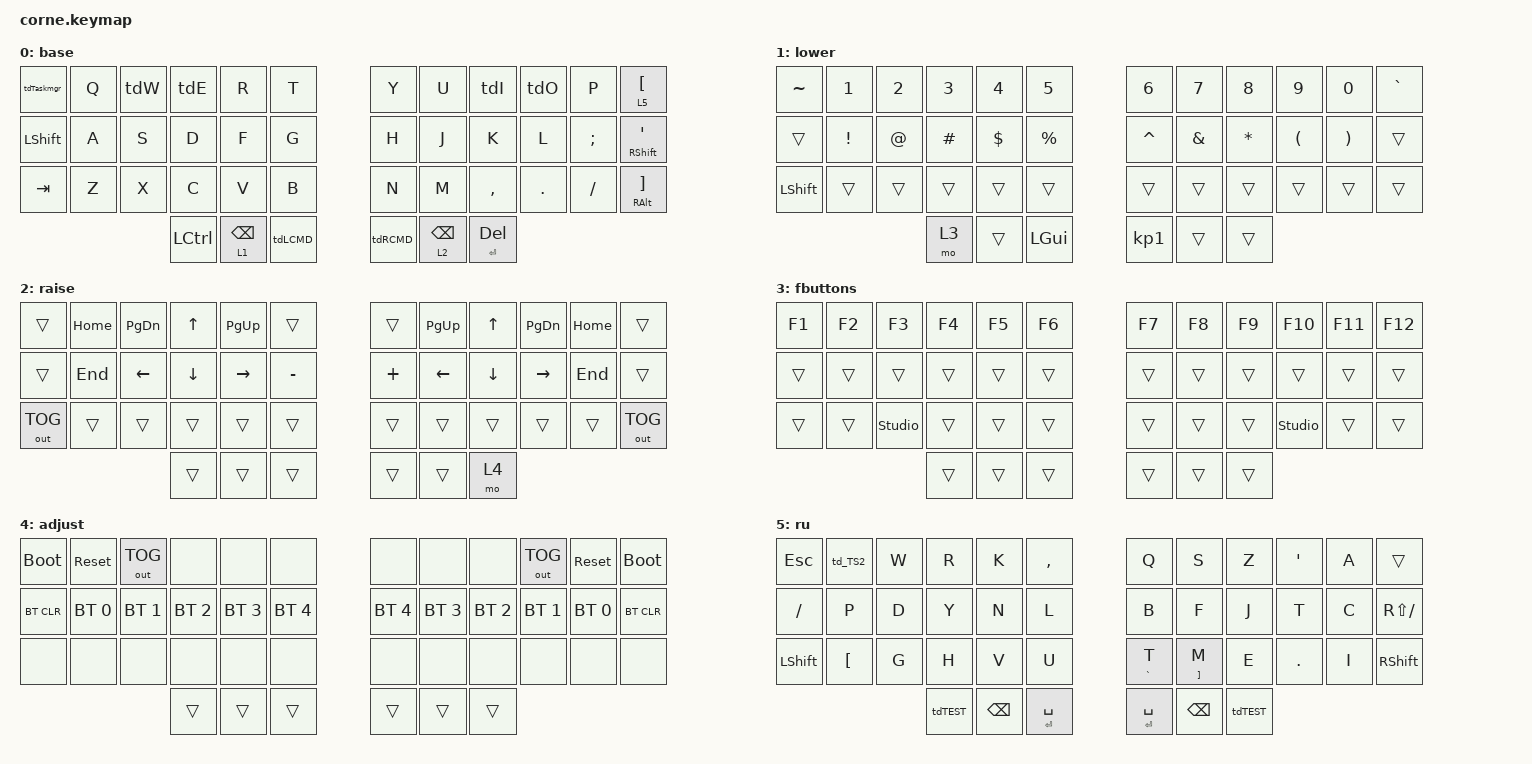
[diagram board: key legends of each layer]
#pragma once

#define BSE 0
#define LWR 1
#define RSE 2
#define FBT 3
#define ADJ 4

#include <behaviors.dtsi>
#include <dt-bindings/zmk/bt.h>
#include <dt-bindings/zmk/keys.h>
#include <dt-bindings/zmk/outputs.h>

&lt { quick_tap_ms = <217>; };

&mt { quick_tap_ms = <217>; };

/ {
    behaviors {
        c_lt_tog: custom_layer_tap_tog {
            compatible = "zmk,behavior-hold-tap";
            #binding-cells = <2>;
            flavor = "hold-preferred";
            tapping-term-ms = <200>;
            bindings = <&tog>, <&kp>;
        };

        lh_pht: left_positional_hold_tap {
            compatible = "zmk,behavior-hold-tap";
            #binding-cells = <2>;
            flavor = "tap-unless-interrupted";
            tapping-term-ms = <100>;
            quick-tap-ms = <200>;
            bindings = <&kp>, <&kp>;

            hold-trigger-key-positions = <0 1 2 3 4 5>;
        };

        mt_lr_cmd: left_right_td_cmd {
            compatible = "zmk,behavior-hold-tap";
            #binding-cells = <2>;
            flavor = "hold-preferred";
            tapping-term-ms = <150>;
            bindings = <&kp>, <&kp>;
        };

        tdLCMD: td_left_cmd {
            compatible = "zmk,behavior-tap-dance";
            #binding-cells = <0>;
            tapping-term-ms = <240>;
            bindings = <&mt_lr_cmd LCMD ENTER>, <&kp SPACE>;
        };

        tdRCMD: td_right_cmd {
            compatible = "zmk,behavior-tap-dance";
            #binding-cells = <0>;
            tapping-term-ms = <240>;
            bindings = <&mt_lr_cmd LCMD SPACE>, <&kp ENTER>;
        };

        tdTaskmgr: td_tsk_mngr {
            compatible = "zmk,behavior-tap-dance";
            #binding-cells = <0>;
            bindings = <&kp ESC>, <&kp LS(LC(ESC))>;

            tapping-term-ms = <180>;
        };

        tdE: td_e_f5_lctrl+f5 {
            compatible = "zmk,behavior-tap-dance";
            #binding-cells = <0>;
            bindings = <&kp E>, <&kp F5>, <&kp LC(F5)>;

            tapping-term-ms = <210>;
        };

        tdI: td_i_f5_rctrl+f5 {
            compatible = "zmk,behavior-tap-dance";
            #binding-cells = <0>;
            bindings = <&kp I>, <&kp F5>, <&kp RC(F5)>;

            tapping-term-ms = <210>;
        };

        tdW: td_w_f2 {
            compatible = "zmk,behavior-tap-dance";
            #binding-cells = <0>;
            bindings = <&kp W>, <&kp F2>;

            tapping-term-ms = <210>;
        };

        tdO: td_o_f2 {
            compatible = "zmk,behavior-tap-dance";
            #binding-cells = <0>;
            bindings = <&kp O>, <&kp F2>;

            tapping-term-ms = <210>;
        };

        tdTEST: td_TEST {
            compatible = "zmk,behavior-tap-dance";
            #binding-cells = <0>;
            bindings = <&kp ENTER>, <&kp SPACE>, <&kp BACKSPACE>;
        };

        td_TS2: td_TEST2 {
            compatible = "zmk,behavior-tap-dance";
            #binding-cells = <0>;
            bindings = <&kp I>, <&kp O>;
        };
    };

    combos {
        compatible = "zmk,combos";

        ParaLeft {
            bindings = <&kp LEFT_PARENTHESIS>;
            key-positions = <4 5>;
            timeout-ms = <20>;
        };

        ParaRight {
            bindings = <&kp RIGHT_PARENTHESIS>;
            key-positions = <6 7>;
            timeout-ms = <20>;
        };

        BrakLeft {
            bindings = <&kp LEFT_BRACKET>;
            key-positions = <16 17>;
            timeout-ms = <20>;
        };

        BrakRight {
            bindings = <&kp RIGHT_BRACKET>;
            key-positions = <18 19>;
            timeout-ms = <20>;
        };

        BraceLeft {
            bindings = <&kp LEFT_BRACE>;
            key-positions = <28 29>;
            timeout-ms = <20>;
        };

        BraceRight {
            bindings = <&kp RIGHT_BRACE>;
            key-positions = <30 31>;
            timeout-ms = <20>;
        };

        DoubleQuote {
            bindings = <&kp DOUBLE_QUOTES>;
            key-positions = <15 16>;
            timeout-ms = <20>;
        };

        MinusSign {
            bindings = <&kp MINUS>;
            key-positions = <3 4>;
            timeout-ms = <20>;
        };

        PlusSign {
            bindings = <&kp PLUS>;
            key-positions = <7 8>;
            timeout-ms = <20>;
        };

        copy_l {
            bindings = <&mt LC(INSERT) LC(C)>;
            key-positions = <26 27>;
            timeout-ms = <20>;
        };

        copy_r {
            bindings = <&mt RC(INSERT) RC(C)>;
            key-positions = <33 32>;
            timeout-ms = <20>;
        };

        paste_l {
            bindings = <&mt LS(INSERT) LC(V)>;
            key-positions = <27 28>;
            timeout-ms = <20>;
        };

        paste_r {
            bindings = <&mt RS(INS) RC(V)>;
            key-positions = <32 31>;
            timeout-ms = <20>;
        };
    };

    keymap {
        compatible = "zmk,keymap";

        base {
            display-name = "base";
            bindings = <
&tdTaskmgr  &kp Q  &tdW   &tdE       &kp R            &kp T      &kp Y    &kp U            &tdI           &tdO        &kp P          &c_lt_tog 5 LEFT_BRACKET
&kp LSHIFT  &kp A  &kp S  &kp D      &kp F            &kp G      &kp H    &kp J            &kp K          &kp L       &kp SEMICOLON  &mt RSHIFT SQT
&kp TAB     &kp Z  &kp X  &kp C      &kp V            &kp B      &kp N    &kp M            &kp COMMA      &kp PERIOD  &kp SLASH      &mt RALT RIGHT_BRACKET
                          &kp LCTRL  &lt 1 BACKSPACE  &tdLCMD    &tdRCMD  &lt 2 BACKSPACE  &mt ENTER DEL
            >;
        };

        lower {
            display-name = "lower";
            bindings = <
&kp TILDE  &kp N1    &kp N2  &kp N3    &kp N4    &kp N5       &kp N6     &kp N7    &kp N8     &kp N9    &kp N0    &kp GRAVE
&trans     &kp EXCL  &kp AT  &kp HASH  &kp DLLR  &kp PRCNT    &kp CARET  &kp AMPS  &kp ASTRK  &kp LPAR  &kp RPAR  &trans
&kp LSHFT  &trans    &trans  &trans    &trans    &trans       &trans     &trans    &trans     &trans    &trans    &trans
                             &mo 3     &trans    &kp LGUI     &kp KP_N1  &trans    &trans
            >;
        };

        raise {
            display-name = "raise";
            bindings = <
&trans        &kp HOME  &kp PAGE_DOWN  &kp UP    &kp PAGE_UP  &trans       &trans    &kp PG_UP  &kp UP    &kp PG_DN  &kp HOME  &trans
&trans        &kp END   &kp LEFT       &kp DOWN  &kp RIGHT    &kp MINUS    &kp PLUS  &kp LEFT   &kp DOWN  &kp RIGHT  &kp END   &trans
&out OUT_TOG  &trans    &trans         &trans    &trans       &trans       &trans    &trans     &trans    &trans     &trans    &out OUT_TOG
                                       &trans    &trans       &trans       &trans    &trans     &mo 4
            >;
        };

        fbuttons {
            display-name = "fbuttons";
            bindings = <
&kp F1  &kp F2  &kp F3          &kp F4  &kp F5  &kp F6    &kp F7  &kp F8  &kp F9  &kp F10         &kp F11  &kp F12
&trans  &trans  &trans          &trans  &trans  &trans    &trans  &trans  &trans  &trans          &trans   &trans
&trans  &trans  &studio_unlock  &trans  &trans  &trans    &trans  &trans  &trans  &studio_unlock  &trans   &trans
                                &trans  &trans  &trans    &trans  &trans  &trans
            >;
        };

        adjust {
            display-name = "adjust";
            bindings = <
&bootloader  &sys_reset    &out OUT_TOG  &none         &none         &none           &none         &none         &none         &out OUT_TOG  &sys_reset    &bootloader
&bt BT_CLR   &bt BT_SEL 0  &bt BT_SEL 1  &bt BT_SEL 2  &bt BT_SEL 3  &bt BT_SEL 4    &bt BT_SEL 4  &bt BT_SEL 3  &bt BT_SEL 2  &bt BT_SEL 1  &bt BT_SEL 0  &bt BT_CLR
&none        &none         &none         &none         &none         &none           &none         &none         &none         &none         &none         &none
                                         &trans        &trans        &trans          &trans        &trans        &trans
            >;
        };

        ru {
            display-name = "ru";
            bindings = <
&kp ESC         &td_TS2           &kp W  &kp R    &kp K          &kp COMMA          &kp Q            &kp S                &kp Z    &kp SQT     &kp A  &trans
&kp SLASH       &kp P             &kp D  &kp Y    &kp N          &kp L              &kp B            &kp F                &kp J    &kp T       &kp C  &kp RS(SLASH)
&kp LEFT_SHIFT  &kp LEFT_BRACKET  &kp G  &kp H    &kp V          &kp U              &mt GRAVE T      &mt RIGHT_BRACKET M  &kp E    &kp PERIOD  &kp I  &kp RIGHT_SHIFT
                                         &tdTEST  &kp BACKSPACE  &mt ENTER SPACE    &mt ENTER SPACE  &kp BACKSPACE        &tdTEST
            >;
        };
    };
};
